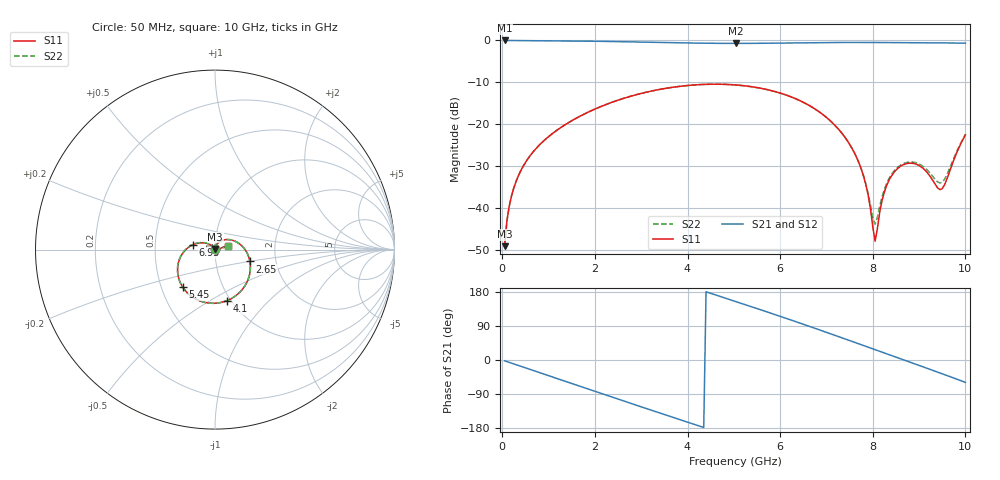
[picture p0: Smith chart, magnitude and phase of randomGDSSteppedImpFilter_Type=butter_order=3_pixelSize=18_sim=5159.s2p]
! freq	dB(S11)	phase(S11)	dB(S12)	phase(S12)
!  dB(S21)	phase(S21)	dB(S22)	phase(S22)
!S-par simulation data
#  GHz  S  DB  R 50
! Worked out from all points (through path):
!   200 points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, 50 MHz to 10 GHz, reference 50 ohm
!   highest |S21| = 0.00 dB at 50 MHz (marker M1); lowest = -0.7 dB at 5.05 GHz (marker M2)
!   group delay of S21, straight-line fit = 115 ps
!   lowest |S11| = -49.2 dB at 50 MHz (marker M3), VSWR 1.01, Z = 50.1 + j0.343 ohm
!   |S11| at or under -10 dB: start of sweep to end of sweep
!   |S22| runs from -49.2 to -10.5 dB; largest |S21 - S12| = 0
!   S11 on the Smith chart (normalised r, x): 50 MHz: 1.00, +0.01; 2.65 GHz: 1.47, -0.20; 4.1 GHz: 0.96, -0.60; 5.45 GHz: 0.64, -0.29; 6.95 GHz: 0.78, +0.04; 10 GHz: 1.15, +0.05
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0.05  -49.18 80.8  -0.00 -2.1  -0.00 -2.1  -49.18 80.8
0.1  -43.13 82.0  -0.01 -4.2  -0.01 -4.2  -43.13 82.0
0.2  -37.13 79.7  -0.01 -8.3  -0.01 -8.3  -37.13 79.6
0.45  -30.09 70.6  -0.03 -18.7  -0.03 -18.7  -30.09 70.6
0.95  -23.46 50.8  -0.06 -39.3  -0.06 -39.3  -23.46 50.8
1.75  -17.71 18.1  -0.15 -72.3  -0.15 -72.3  -17.71 18.1
2.65  -13.75 -18.7  -0.32 -109.3  -0.32 -109.3  -13.75 -18.8
3.4  -11.70 -49.2  -0.48 -139.9  -0.48 -139.9  -11.70 -49.3
4.1  -10.68 -77.2  -0.62 -168.0  -0.62 -168.0  -10.68 -77.3
5.05  -10.65 -114.6  -0.71 154.0  -0.71 154.0  -10.65 -114.8
5.45  -11.18 -130.5  -0.70 137.8  -0.70 137.8  -11.18 -130.7
6.1  -12.94 -156.7  -0.62 111.1  -0.62 111.1  -12.94 -157.0
6.7  -16.02 178.4  -0.54 85.9  -0.54 85.9  -16.03 177.9
6.95  -17.95 167.8  -0.51 75.2  -0.51 75.2  -17.96 167.0
7.7  -29.24 132.0  -0.47 42.6  -0.47 42.6  -29.22 128.4
7.9  -36.96 114.2  -0.48 33.9  -0.48 33.9  -36.62 105.3
8.05  -47.98 35.7  -0.49 27.3  -0.49 27.3  -43.92 32.4
8.2  -38.29 -42.6  -0.50 20.8  -0.50 20.8  -37.39 -33.0
8.35  -33.44 -56.5  -0.51 14.2  -0.51 14.2  -33.04 -50.2
8.85  -29.36 -77.1  -0.55 -7.7  -0.55 -7.7  -29.07 -72.6
9.5  -35.44 -25.5  -0.59 -36.4  -0.59 -36.4  -33.89 -27.3
10  -22.59 17.6  -0.65 -59.0  -0.65 -59.0  -22.49 14.9
